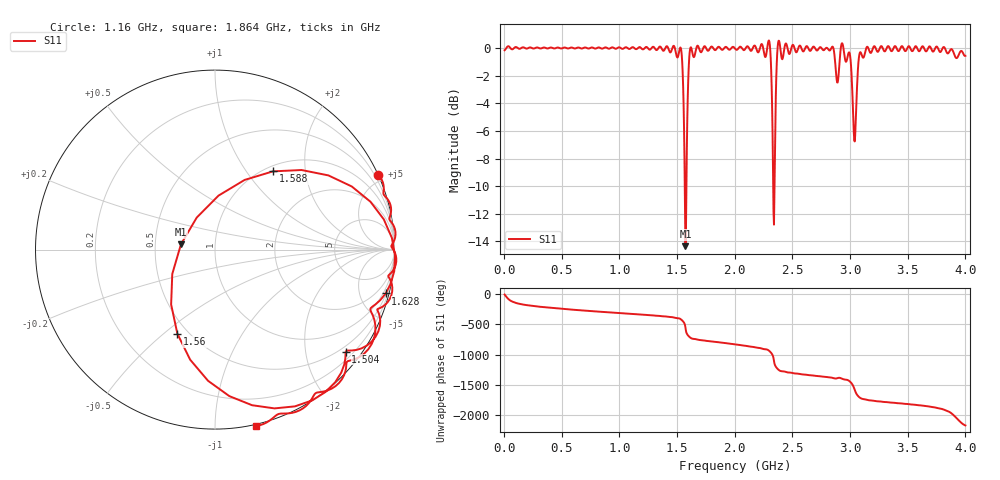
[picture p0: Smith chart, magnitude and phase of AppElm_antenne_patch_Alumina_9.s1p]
! TOUCHSTONE file generated by CST MICROWAVE STUDIO
! Date and time: Thu Jun  9 15:16:45 2022
! Project name: AppElm_antenne_patch_Alumina.cst
! Parameters = {L=30.5; W=41.8; e=0.035; h=1.6; lambda=0.190476; ls=90; w0=1.12; w1=0.373; ws=90; y0=14; y1=11.5}
! Header version: 2018
! Port assignment regex: !\s*Touchstone port\s*([0-9]+)\s*=\s*(CST MWS port|CST DS port)\s*([0-9]+|Zmin|Zmax)\s*\(\"(.*)\"\)(\s*mode\s*([0-9]+))?.*
! Touchstone port assignment:
! Touchstone port 1 = CST MWS port 1 ("")
# GHz S MA R 50
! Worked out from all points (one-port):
!   1000 points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, 4 MHz to 4 GHz, reference 50 ohm
!   lowest |S11| = -14.3 dB at 1.572 GHz (marker M1), VSWR 1.47, Z = 34 + j2.1 ohm
!   |S11| at or under -10 dB: 1.566 GHz to 1.581 GHz (14.17 MHz wide, 0.901 % of centre); 2.333429 GHz to 2.344557 GHz (11.13 MHz wide, 0.476 % of centre)
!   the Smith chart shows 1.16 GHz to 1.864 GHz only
!   S11 on the Smith chart (normalised r, x): 1.16 GHz: 0.00, +4.59; 1.504 GHz: 0.37, -2.87; 1.56 GHz: 0.44, -0.56; 1.588 GHz: 1.09, +1.34; 1.628 GHz: 0.58, -7.87; 1.864 GHz: -0.01, -1.26
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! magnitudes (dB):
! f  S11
! 4 MHz  -0.2
! 504 MHz  0.0
! 1.004 GHz  0.0
! 1.16 GHz  0.0
! 1.504 GHz  -0.7
! 1.536 GHz  -0.2
! 1.56 GHz  -5.8
! 1.572 GHz  -14.3
! 1.588 GHz  -5.3
! 1.608 GHz  -0.4
! 1.628 GHz  -0.2
! 1.864 GHz  0.1
! 2.004 GHz  -0.1
! 2.292 GHz  0.5
! 2.304 GHz  0.2
! 2.328 GHz  -6.4
! 2.34 GHz  -12.8
! 2.352 GHz  -5.2
! 2.38 GHz  0.5
! 2.504 GHz  0.2
! 2.84 GHz  0.0
! 2.888 GHz  -2.5
! 2.932 GHz  0.3
! 3.004 GHz  -0.8
! 3.04 GHz  -6.8
! 3.092 GHz  -0.3
! 3.504 GHz  0.1
! 4 GHz  -0.6
